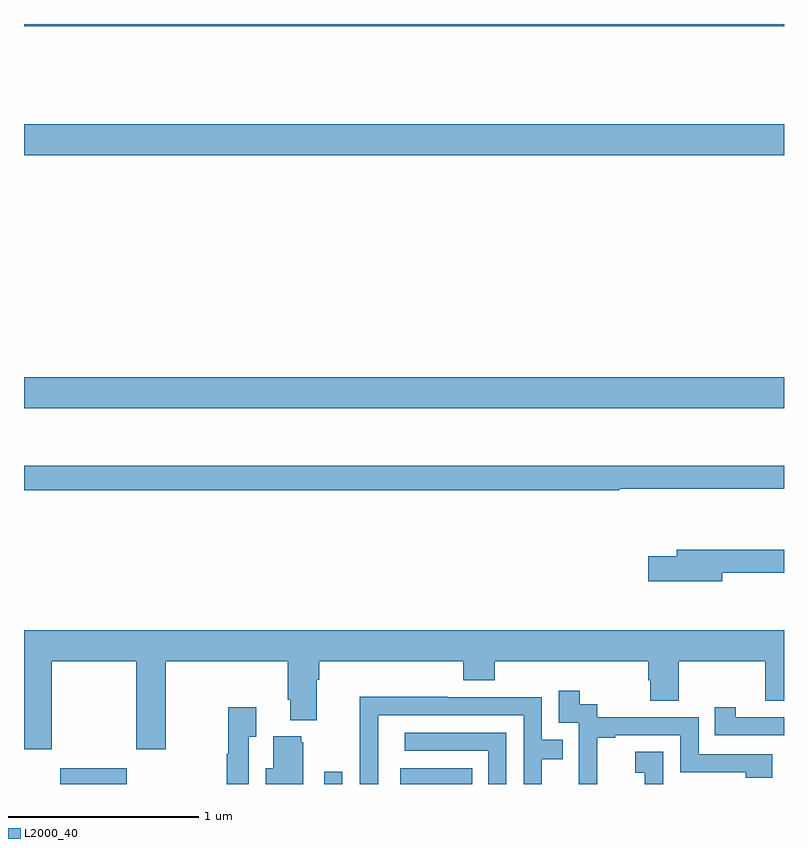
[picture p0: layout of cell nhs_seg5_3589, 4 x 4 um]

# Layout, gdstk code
import gdstk
lib = gdstk.Library(unit=1e-6, precision=1e-09)
def R(c, l, rs):  # rectangles x0, y0, x1, y1
    for r in rs: c.add(gdstk.rectangle(r[:2], r[2:], *l))
def P(c, l, *ps):  # polygons
    for p in ps: c.add(gdstk.Polygon(p, *l))
L2000_40 = (2000, 40)

nhs_seg5_3589 = lib.new_cell('nhs_seg5_3589')
R(nhs_seg5_3589, L2000_40, [(323.192,838.799,323.542,838.882), (324.579,838.799,324.675,838.864), (324.98,838.799,325.358,838.882), (323,840.776,327,840.94), (323,842.108,327,842.272), (323,842.788,327,842.799)])
P(nhs_seg5_3589, L2000_40, [(326.134,840.354),(327,840.354),(327,840.475),(323,840.475),(323,840.346),(326.134,840.346)],
  [(326.674,839.91),(327,839.91),(327,840.031),(326.435,840.031),(326.435,839.997),(326.286,839.997),(326.286,839.867),(326.674,839.867)],
  [(323,838.983),(323.145,838.983),(323.145,839.444),(323.59,839.444),(323.59,838.983),(323.745,838.983),(323.745,839.444),(324.389,839.444),(324.389,839.242),(324.401,839.242),(324.401,839.135),(324.541,839.135),(324.541,839.348),(324.554,839.348),(324.554,839.444),(325.313,839.444),(325.313,839.345),(325.478,839.345),(325.478,839.444),(326.285,839.444),(326.285,839.346),(326.297,839.346),(326.297,839.236),(326.445,839.236),(326.445,839.444),(326.902,839.444),(326.902,839.236),(327,839.236),(327,839.608),(323,839.608)],
  [(326.018,839.043),(326.113,839.043),(326.113,839.055),(326.454,839.055),(326.454,838.86),(326.799,838.86),(326.799,838.833),(326.939,838.833),(326.939,838.956),(326.55,838.956),(326.55,839.151),(326.016,839.151),(326.016,839.22),(325.924,839.22),(325.924,839.29),(325.815,839.29),(325.815,839.121),(325.92,839.121),(325.92,838.892),(325.919,838.892),(325.919,838.799),(326.018,838.799)],
  [(324.864,839.16),(325.629,839.16),(325.629,838.799),(325.725,838.799),(325.725,838.93),(325.835,838.93),(325.835,839.031),(325.725,839.031),(325.725,839.256),(325.229,839.256),(325.229,839.258),(324.766,839.258),(324.766,838.951),(324.768,838.951),(324.768,838.799),(324.864,838.799)],
  [(324.183,839.047),(324.223,839.047),(324.223,839.203),(324.075,839.203),(324.075,838.958),(324.067,838.958),(324.067,838.799),(324.183,838.799)],
  [(327,839.151),(326.746,839.151),(326.746,839.203),(326.635,839.203),(326.635,839.055),(327,839.055)],
  [(325.539,839.07),(325.005,839.07),(325.005,838.974),(325.443,838.974),(325.443,838.799),(325.539,838.799)],
  [(324.469,839.019),(324.458,839.019),(324.458,839.05),(324.311,839.05),(324.311,838.882),(324.272,838.882),(324.272,838.799),(324.469,838.799)],
  [(326.364,838.969),(326.217,838.969),(326.217,838.859),(326.266,838.859),(326.266,838.799),(326.364,838.799)])

lib.write_gds('nhs_seg5_3589.gds')
